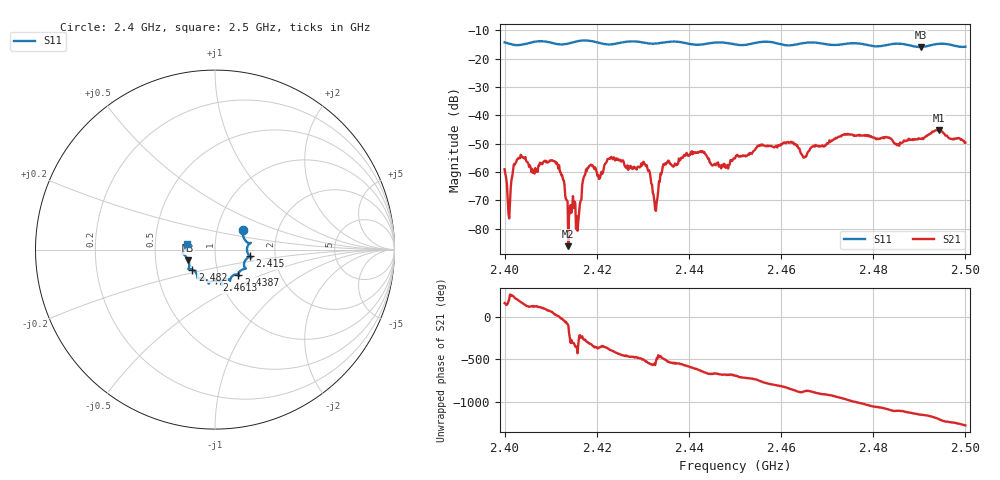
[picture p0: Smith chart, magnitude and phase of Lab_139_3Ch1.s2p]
# Hz S RI R 50
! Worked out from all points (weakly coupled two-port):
!   601 points, 2.4 GHz to 2.5 GHz, reference 50 ohm
!   highest |S21| = -45.09 dB at 2.4943 GHz (marker M1); lowest = -86.1 dB at 2.4138 GHz (marker M2)
!   lowest |S11| = -15.9 dB at 2.4903 GHz (marker M3), VSWR 1.38, Z = 36.8 - j4.45 ohm
!   |S11| at or under -10 dB: start of sweep to end of sweep
!   S12 and S22 are empty: the file has one direction only
!   S11 on the Smith chart (normalised r, x): 2.4 GHz: 1.33, +0.31; 2.415 GHz: 1.47, -0.11; 2.4387 GHz: 1.24, -0.36; 2.4613 GHz: 0.96, -0.34; 2.482 GHz: 0.76, -0.17; 2.5 GHz: 0.72, +0.05
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2.4e9  0.1581 0.112  -0.00108 0.000303  0 0  0 0
2.401e9  0.1558 0.0969  -0.000132 -7.75e-05  0 0  0 0
2.403167e9  0.1632 0.0597  -0.00173 -0.000289  0 0  0 0
2.410833e9  0.1837 0.0223  0.00134 0.000788  0 0  0 0
2.413833e9  0.1838 -0.0225  -9.87e-06 -4.86e-05  0 0  0 0
2.415e9  0.1922 -0.0363  0.000143 0.00019  0 0  0 0
2.416667e9  0.2035 -0.0439  -0.000169 0.000283  0 0  0 0
2.418167e9  0.2033 -0.042  0.000724 0.000947  0 0  0 0
2.423167e9  0.1625 -0.0743  0.00153 -0.00106  0 0  0 0
2.4305e9  0.1541 -0.1106  -0.00126 -0.000513  0 0  0 0
2.432667e9  0.1349 -0.1253  -0.000194 0.000107  0 0  0 0
2.433333e9  0.1323 -0.1318  -1.4e-05 -0.000463  0 0  0 0
2.434833e9  0.1307 -0.1437  -0.00113 -0.000862  0 0  0 0
2.438667e9  0.1302 -0.1415  -0.00164 0.000717  0 0  0 0
2.45e9  0.069 -0.1646  0.00154 0.000833  0 0  0 0
2.461333e9  0.00789 -0.1713  -0.00158 -0.00299  0 0  0 0
2.466667e9  -0.0348 -0.1903  -0.00264 -0.000879  0 0  0 0
2.482e9  -0.1259 -0.1113  0.00402 0.000528  0 0  0 0
2.483333e9  -0.1396 -0.1084  0.00392 -0.000866  0 0  0 0
2.490333e9  -0.149 -0.0589  0.00107 -0.00373  0 0  0 0
2.494333e9  -0.1817 -0.0211  -0.0035 -0.00432  0 0  0 0
2.5e9  -0.1587 0.0325  -0.00309 0.00117  0 0  0 0
